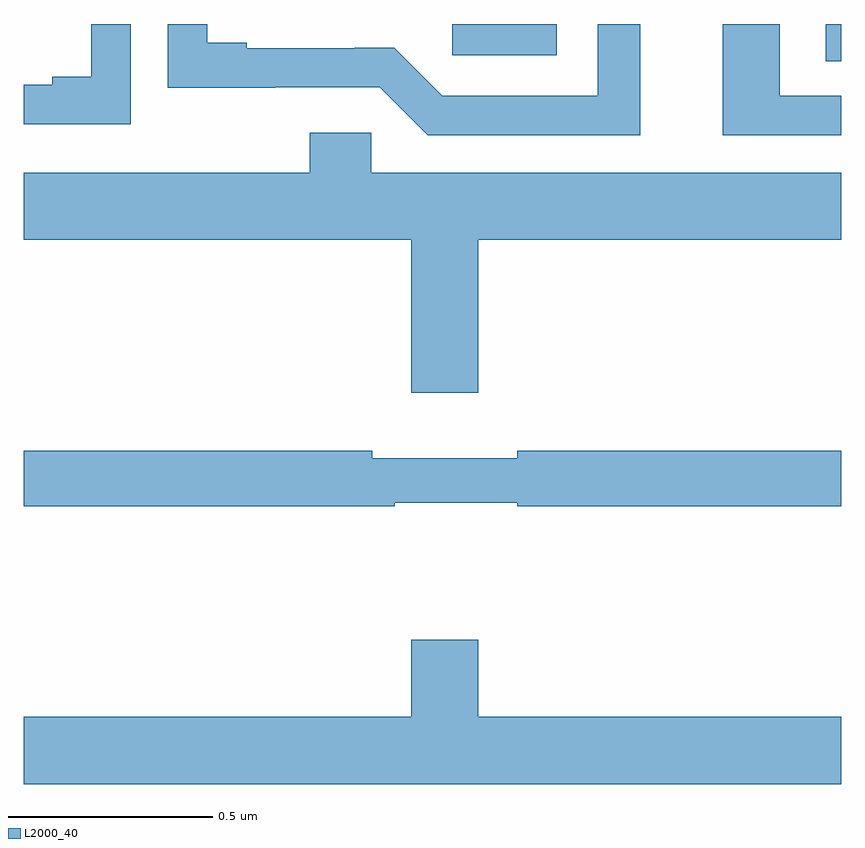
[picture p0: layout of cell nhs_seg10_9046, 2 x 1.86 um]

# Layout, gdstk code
import gdstk
lib = gdstk.Library(unit=1e-6, precision=1e-09)
def R(c, l, rs):  # rectangles x0, y0, x1, y1
    for r in rs: c.add(gdstk.rectangle(r[:2], r[2:], *l))
def P(c, l, *ps):  # polygons
    for p in ps: c.add(gdstk.Polygon(p, *l))
L2000_40 = (2000, 40)

nhs_seg10_9046 = lib.new_cell('nhs_seg10_9046')
R(nhs_seg10_9046, L2000_40, [(225.962,1311.409,226,1311.5), (225.048,1311.423,225.304,1311.5)])
P(nhs_seg10_9046, L2000_40, [(224.262,1311.5),(224.165,1311.5),(224.165,1311.371),(224.069,1311.371),(224.069,1311.351),(224,1311.351),(224,1311.255),(224.262,1311.255)],
  [(226,1311.324),(225.85,1311.324),(225.85,1311.5),(225.71,1311.5),(225.71,1311.228),(226,1311.228)],
  [(225.508,1311.5),(225.404,1311.5),(225.404,1311.324),(225.024,1311.324),(224.906,1311.442),(224.81,1311.442),(224.81,1311.441),(224.545,1311.441),(224.545,1311.454),(224.449,1311.454),(224.449,1311.5),(224.352,1311.5),(224.352,1311.344),(224.615,1311.344),(224.615,1311.345),(224.871,1311.345),(224.988,1311.228),(225.508,1311.228)],
  [(225.112,1310.972),(226,1310.972),(226,1311.136),(224.85,1311.136),(224.85,1311.234),(224.699,1311.234),(224.699,1311.136),(224,1311.136),(224,1310.972),(224.948,1310.972),(224.948,1310.598),(225.112,1310.598)],
  [(224.908,1310.328),(225.208,1310.328),(225.208,1310.32),(226,1310.32),(226,1310.456),(225.208,1310.456),(225.208,1310.437),(224.852,1310.437),(224.852,1310.456),(224,1310.456),(224,1310.32),(224.908,1310.32)],
  [(226,1309.804),(225.112,1309.804),(225.112,1309.993),(224.948,1309.993),(224.948,1309.804),(224,1309.804),(224,1309.64),(226,1309.64)])

lib.write_gds('nhs_seg10_9046.gds')
